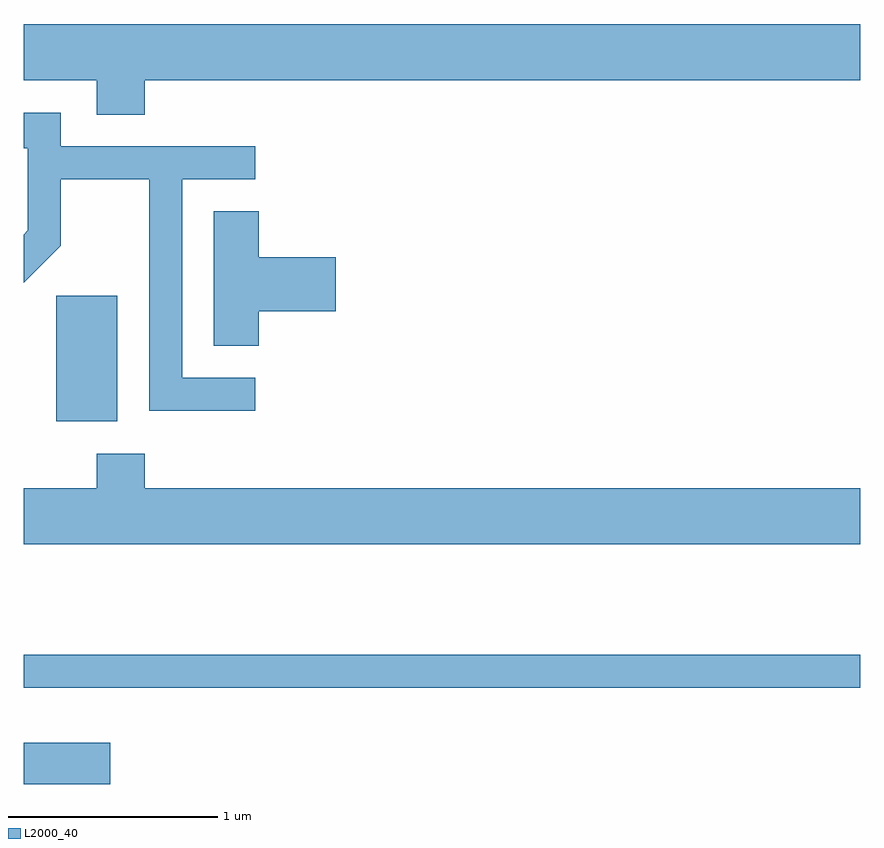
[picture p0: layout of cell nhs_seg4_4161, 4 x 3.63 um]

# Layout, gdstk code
import gdstk
lib = gdstk.Library(unit=1e-6, precision=1e-09)
def R(c, l, rs):  # rectangles x0, y0, x1, y1
    for r in rs: c.add(gdstk.rectangle(r[:2], r[2:], *l))
def P(c, l, *ps):  # polygons
    for p in ps: c.add(gdstk.Polygon(p, *l))
L2000_40 = (2000, 40)

nhs_seg4_4161 = lib.new_cell('nhs_seg4_4161')
R(nhs_seg4_4161, L2000_40, [(307.611,1280.271,308.024,1280.469), (307.611,1280.731,311.611,1280.889), (307.766,1282.006,308.059,1282.604)])
P(nhs_seg4_4161, L2000_40, [(308.189,1283.636),(311.611,1283.636),(311.611,1283.904),(307.611,1283.904),(307.611,1283.636),(307.961,1283.636),(307.961,1283.471),(308.189,1283.471)],
  [(308.718,1282.214),(308.369,1282.214),(308.369,1283.161),(308.718,1283.161),(308.718,1283.319),(307.789,1283.319),(307.789,1283.479),(307.611,1283.479),(307.611,1283.311),(307.631,1283.311),(307.631,1282.917),(307.611,1282.897),(307.611,1282.666),(307.789,1282.844),(307.789,1283.161),(308.211,1283.161),(308.211,1282.056),(308.718,1282.056)],
  [(308.734,1282.531),(309.104,1282.531),(309.104,1282.789),(308.734,1282.789),(308.734,1283.009),(308.521,1283.009),(308.521,1282.366),(308.734,1282.366)],
  [(311.611,1281.684),(308.189,1281.684),(308.189,1281.849),(307.961,1281.849),(307.961,1281.684),(307.611,1281.684),(307.611,1281.416),(311.611,1281.416)])

lib.write_gds('nhs_seg4_4161.gds')
